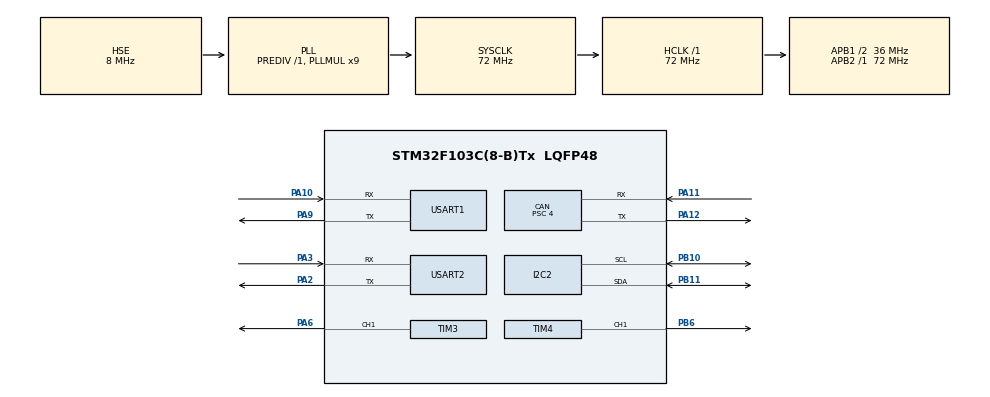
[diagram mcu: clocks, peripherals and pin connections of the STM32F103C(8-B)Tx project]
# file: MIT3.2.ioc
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CAN.BS1=CAN_BS1_3TQ
CAN.BS2=CAN_BS2_5TQ
CAN.CalculateBaudRate=1000000
CAN.CalculateTimeBit=1000
CAN.CalculateTimeQuantum=111.11111111111111
CAN.Prescaler=4
Mcu.Family=STM32F1
Mcu.Name=STM32F103C(8-B)Tx
Mcu.Package=LQFP48
NVIC.PriorityGroup=NVIC_PRIORITYGROUP_4
NVIC.TIM3_IRQn=true\:0\:0\:true\:false\:true\:true\:true\:true
NVIC.TIM4_IRQn=true\:1\:0\:true\:false\:true\:true\:true\:true
NVIC.USART1_IRQn=true\:3\:0\:true\:false\:true\:true\:true\:true
NVIC.USB_LP_CAN1_RX0_IRQn=true\:2\:0\:true\:false\:true\:true\:true\:true
PA10.Mode=Asynchronous
PA10.Signal=USART1_RX
PA11.Mode=CAN_Activate
PA11.Signal=CAN_RX
PA12.Mode=CAN_Activate
PA12.Signal=CAN_TX
PA13.Mode=Serial_Wire
PA13.Signal=SYS_JTMS-SWDIO
PA14.Mode=Serial_Wire
PA14.Signal=SYS_JTCK-SWCLK
PA2.Mode=Asynchronous
PA2.Signal=USART2_TX
PA3.Mode=Asynchronous
PA3.Signal=USART2_RX
PA6.Signal=S_TIM3_CH1
PA9.Mode=Asynchronous
PA9.Signal=USART1_TX
PB10.Mode=I2C
PB10.Signal=I2C2_SCL
PB11.Mode=I2C
PB11.Signal=I2C2_SDA
PB6.Signal=S_TIM4_CH1
PD0-OSC_IN.Mode=HSE-External-Oscillator
PD0-OSC_IN.Signal=RCC_OSC_IN
PD1-OSC_OUT.Mode=HSE-External-Oscillator
PD1-OSC_OUT.Signal=RCC_OSC_OUT
ProjectManager.HeapSize=0x200
ProjectManager.StackSize=0x400
ProjectManager.TargetToolchain=MDK-ARM V5.32
RCC.AHBFreq_Value=72000000
RCC.APB1CLKDivider=RCC_HCLK_DIV2
RCC.APB1Freq_Value=36000000
RCC.APB1TimFreq_Value=72000000
RCC.APB2Freq_Value=72000000
RCC.APB2TimFreq_Value=72000000
RCC.HCLKFreq_Value=72000000
RCC.PLLMUL=RCC_PLL_MUL9
RCC.PLLSourceVirtual=RCC_PLLSOURCE_HSE
RCC.SYSCLKFreq_VALUE=72000000
RCC.SYSCLKSource=RCC_SYSCLKSOURCE_PLLCLK
RCC.USBFreq_Value=72000000
SH.S_TIM3_CH1.0=TIM3_CH1,PWM Generation1 CH1
SH.S_TIM4_CH1.0=TIM4_CH1,PWM Generation1 CH1
TIM3.Channel-PWM\ Generation1\ CH1=TIM_CHANNEL_1
TIM3.Prescaler=72-1
TIM4.Channel-PWM\ Generation1\ CH1=TIM_CHANNEL_1
TIM4.Period=20000-1
TIM4.Prescaler=7200-1
USART1.VirtualMode=VM_ASYNC
USART2.VirtualMode=VM_ASYNC
VP_TIM3_VS_ClockSourceINT.Mode=Internal
VP_TIM4_VS_ClockSourceINT.Mode=Internal
board=custom

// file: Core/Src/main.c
/* USER CODE BEGIN Header */
/**
  ******************************************************************************
  * @file           : main.c
  * @brief          : Main program body
  ******************************************************************************
  * @attention
  *
  * Copyright (c) 2025 STMicroelectronics.
  * All rights reserved.
  *
  * This software is licensed under terms that can be found in the LICENSE file
  * in the root directory of this software component.
  * If no LICENSE file comes with this software, it is provided AS-IS.
  *
  ******************************************************************************
  */
/* USER CODE END Header */
#include "main.h"
#include "can.h"
#include "i2c.h"
#include "tim.h"
#include "usart.h"
#include "gpio.h"
#include "stdio.h"
#include "mpu6050.h"

/* USER CODE BEGIN Includes */
#define P_MIN   -12.5f     // 最小位置 (rad)
#define P_MAX   12.5f      // 最大位置 (rad)
#define V_MIN   -45.0f     // 最小速度 (rad/s)
#define V_MAX   45.0f      // 最大速度 (rad/s)
#define KP_MIN  0.0f       // 最小刚度系数
#define KP_MAX  500.0f     // 最大刚度系数
#define KD_MIN  0.0f       // 最小阻尼系数
#define KD_MAX  100.0f     // 最大阻尼系数
#define T_MIN   -18.0f     // 最小扭矩 (N·m)
#define T_MAX   18.0f      // 最大扭矩 (N·m)
struct three_motor
{
	uint16_t MOTOR_ID_x;
	uint16_t MOTOR_ID_y;
	uint16_t MOTOR_ID_z;
};
struct pid_module
{
	float kp;
	float ki;
  float kd;
  float integral;
  float prev_error;
	float max_output;
};
struct three_motor MT = {0x01, 0x02, 0x03};
struct pid_module pid={1.0f,0.0f,0.1,0.0f,0.0f,20.0f};
#define FEEDBACK_ID_x (MT.MOTOR_ID_x + 0x100) // MIT电机反馈ID = 电机ID + 0x100
#define FEEDBACK_ID_y (MT.MOTOR_ID_y + 0x100)
#define FEEDBACK_ID_z (MT.MOTOR_ID_z + 0x100)
typedef struct {
    float position;      // 当前位置 (rad)
    float velocity;      // 当前速度 (rad/s)
} MotorState;
MotorState motor_x = {0};
MotorState motor_y = {0};
MotorState motor_z = {0};
uint8_t x_flag=0;
uint8_t y_flag=0;
uint8_t z_flag=0;

uint8_t x_ctrl=0;
uint8_t y_ctrl=0;
uint8_t z_ctrl=0;
float dt=0.001f;
float vel_cmd_x=0;
float vel_cmd_y=0;
float vel_cmd_z=0;
int fputc(int ch, FILE *f) {
    HAL_UART_Transmit(&huart2, (uint8_t*)&ch, 1, HAL_MAX_DELAY);
    return ch;
}
void Start_Motor(CAN_HandleTypeDef* hcan,uint8_t id)
{
    CAN_TxHeaderTypeDef txHeader;
    uint8_t start_data[8] = {0xFF, 0xFF, 0xFF, 0xFF, 0xFF, 0xFF, 0xFF, 0xFC};
    uint32_t mailbox;
    txHeader.StdId = id;
    txHeader.IDE = CAN_ID_STD;
    txHeader.RTR = CAN_RTR_DATA;
    txHeader.DLC = 8;
    HAL_CAN_AddTxMessage(hcan, &txHeader, start_data, &mailbox);
}

// 禁用电机
void Stop_Motor(CAN_HandleTypeDef* hcan,uint8_t id)
{
    CAN_TxHeaderTypeDef txHeader;
    uint8_t stop_data[8] = {0xFF, 0xFF, 0xFF, 0xFF, 0xFF, 0xFF, 0xFF, 0xFD};
    uint32_t mailbox;
    txHeader.StdId = id;
    txHeader.IDE = CAN_ID_STD;
    txHeader.RTR = CAN_RTR_DATA;
    txHeader.DLC = 8;
    HAL_CAN_AddTxMessage(hcan, &txHeader, stop_data, &mailbox);
}

/* USER CODE END Includes */

/* USER CODE BEGIN PV */
CAN_FilterTypeDef canFilter;
CAN_RxHeaderTypeDef rxHeader;
uint8_t rxData[8];
/* USER CODE END PV */

void SystemClock_Config(void);

/* USER CODE BEGIN 0 */
float uint_to_float(int x_int, float x_min, float x_max, int bits){
    float span = x_max - x_min;
    return (x_int * span) / ((1 << bits) - 1) + x_min;
}

int float_to_uint(float x, float x_min, float x_max, int bits) {
    float span = x_max - x_min;
    float offset = x_min;
    return (int)((x - offset) * ((1 << bits) - 1) / span);
}

float convet_pitch(int64_t pitch_x)
{
    if(pitch_x<450 && pitch_x>-450)
    {
         return (4.0f * pitch_x) / 450.0f;
    }
    else if ((pitch_x > -900 && pitch_x < -450) || (pitch_x > 450 && pitch_x < 900))
    {
        if(pitch_x<0)
         return -5.0f;
        else
         return 5.0f;
    }
    else
    {
        Stop_Motor(&hcan,MT.MOTOR_ID_x);
        return 0;
    }
}
float convet_roll(int64_t roll_y)
{
    if(roll_y<900&&roll_y>900)
    {
         return (2.0f * roll_y) / 450.0f;
    }
    else if ((roll_y > -1800 && roll_y < -900) || (roll_y > 900 && roll_y < 1800))
    {
        if(roll_y<0)
         return -5.0f;
        else
         return 5.0f;
    }
    else
    {
        Stop_Motor(&hcan,MT.MOTOR_ID_y);
        return 0;
    }
}
float convet_yaw(int64_t yaw_z)
{
    if(yaw_z<900&&yaw_z>-900)
    {
         return  (float)(yaw_z*4.0f) / 500.0f;
    }
    else if ((yaw_z> -1800 && yaw_z < -900) || (yaw_z > 900 && yaw_z < 1800))
    {
        if(yaw_z<0)
         return -5.0f;
        else
         return 5.0f;
    }
    else
    {
        Stop_Motor(&hcan,MT.MOTOR_ID_z);
        return 0;
    }
}
//控制模式发送函数
void ctrl_motor(CAN_HandleTypeDef* hcan, uint16_t id, float _pos, float _vel, float _KP, float _KD, float _torq) {
    CAN_TxHeaderTypeDef txHeader;
    uint8_t data[8];
    uint32_t mailbox;

    uint16_t pos_tmp = float_to_uint(_pos, P_MIN, P_MAX, 16);
    uint16_t vel_tmp = float_to_uint(_vel, V_MIN, V_MAX, 12);
    uint16_t kp_tmp = float_to_uint(_KP, KP_MIN, KP_MAX, 12);
    uint16_t kd_tmp = float_to_uint(_KD, KD_MIN, KD_MAX, 12);
    uint16_t tor_tmp = float_to_uint(_torq, T_MIN, T_MAX, 12);

    txHeader.StdId = id;
    txHeader.IDE = CAN_ID_STD;
    txHeader.RTR = CAN_RTR_DATA;
    txHeader.DLC = 8;

    data[0] = (pos_tmp >> 8) & 0xFF;
    data[1] = pos_tmp & 0xFF;
    data[2] = (vel_tmp >> 4) & 0xFF;
    data[3] = ((vel_tmp & 0xF) << 4) | ((kp_tmp >> 8) & 0x0F);
    data[4] = kp_tmp & 0xFF;
    data[5] = (kd_tmp >> 4) & 0xFF;
    data[6] = ((kd_tmp & 0x0F) << 4) | ((tor_tmp >> 8) & 0x0F);
    data[7] = tor_tmp & 0xFF;

    HAL_CAN_AddTxMessage(hcan, &txHeader, data, &mailbox);
}

void my_log()
{
	printf("x_velocity:%.1f", motor_x.velocity);
	printf("y_velocity:%.1f",motor_y.velocity);
	printf("z_velocity:%.1f",motor_z.velocity);
}

void HAL_CAN_RxFifo0MsgPendingCallback(CAN_HandleTypeDef* hcan) {
    uint16_t  v_x, v_y, v_z;

    if (HAL_CAN_GetRxMessage(hcan, CAN_RX_FIFO0, &rxHeader, rxData) == HAL_OK) {

        // 只处理电机反馈ID
        if (rxHeader.StdId == FEEDBACK_ID_x)
					{
            // 正确解析MIT电机反馈数据
            v_x = (rxData[2] << 4) | (rxData[3] >> 4);

            motor_x.velocity = uint_to_float(v_x, V_MIN, V_MAX, 12);

            x_flag=1;
        }
				 if (rxHeader.StdId == FEEDBACK_ID_y)
					 {
            // 正确解析MIT电机反馈数据
            v_y = (rxData[2] << 4) | (rxData[3] >> 4);

            motor_y.velocity = uint_to_float(v_y, V_MIN, V_MAX, 12);

						 y_flag=1;
        }
				  if (rxHeader.StdId == FEEDBACK_ID_z)
						{
            // 正确解析MIT电机反馈数据
            v_z = (rxData[2] << 4) | (rxData[3] >> 4);
            motor_z.velocity = uint_to_float(v_z, V_MIN, V_MAX, 12);

						 z_flag=1;
        }
    }
}

void HAL_TIM_PeriodElapsedCallback(TIM_HandleTypeDef *htim)
 {

     if (htim->Instance == TIM3) {
			 int pitch_int=pitch*10;
			 vel_cmd_x= convet_pitch(pitch_int);
			 x_ctrl = 1;
			 z_ctrl = 1;
     }
 }

 void mit()
{
	ctrl_motor(&hcan,  MT.MOTOR_ID_x, 0, vel_cmd_x, 0, 1.0, 0);
	HAL_Delay(1);
}

/* USER CODE END 0 */

int main(void)
{

  /* MCU Configuration--------------------------------------------------------*/

  /* Reset of all peripherals, Initializes the Flash interface and the Systick. */
  HAL_Init();

  /* Configure the system clock */
  SystemClock_Config();

  /* Initialize all configured peripherals */
  MX_GPIO_Init();
  MX_CAN_Init();
  MX_I2C2_Init();
  MX_TIM3_Init();
  MX_TIM4_Init();
  MX_USART1_UART_Init();
  MX_USART2_UART_Init();
  /* USER CODE BEGIN 2 */
	canFilter.FilterBank = 0;
  canFilter.FilterMode = CAN_FILTERMODE_IDLIST;
	canFilter .FilterScale = CAN_FILTERSCALE_32BIT;
  canFilter.FilterIdHigh = (0x101 << 5);
  canFilter.FilterIdLow = (0x102 << 5);
  canFilter.FilterMaskIdHigh = (0x103 << 5);
  canFilter.FilterMaskIdLow = 0;
  canFilter.FilterActivation = ENABLE;

	HAL_CAN_ConfigFilter(&hcan, &canFilter);

  // 启动CAN并启用接收中断
  HAL_CAN_Start(&hcan);
  HAL_CAN_ActivateNotification(&hcan, CAN_IT_RX_FIFO0_MSG_PENDING);

  // 使能电机
	Start_Motor(&hcan,MT.MOTOR_ID_x);
	HAL_Delay(1);
  Start_Motor(&hcan,MT.MOTOR_ID_y);
	HAL_Delay(1);
	Start_Motor(&hcan,MT.MOTOR_ID_z);
	HAL_Delay(1);

	 HAL_TIM_Base_Start_IT(&htim3);

	 HAL_TIM_Base_Start_IT(&htim4);
  /* USER CODE END 2 */

  /* Infinite loop */
  /* USER CODE BEGIN WHILE */
  while (1)
  {
		computer();
		if(x_ctrl==1&&z_ctrl==1)
		{
			x_ctrl=0;

			z_ctrl=0;
			mit();
		}
		HAL_Delay(1);

    /* USER CODE END WHILE */

  }
}

void SystemClock_Config(void)
{
  RCC_OscInitTypeDef RCC_OscInitStruct = {0};
  RCC_ClkInitTypeDef RCC_ClkInitStruct = {0};

  /** Initializes the RCC Oscillators according to the specified parameters
  * in the RCC_OscInitTypeDef structure.
  */
  RCC_OscInitStruct.OscillatorType = RCC_OSCILLATORTYPE_HSE;
  RCC_OscInitStruct.HSEState = RCC_HSE_ON;
  RCC_OscInitStruct.HSEPredivValue = RCC_HSE_PREDIV_DIV1;
  RCC_OscInitStruct.HSIState = RCC_HSI_ON;
  RCC_OscInitStruct.PLL.PLLState = RCC_PLL_ON;
  RCC_OscInitStruct.PLL.PLLSource = RCC_PLLSOURCE_HSE;
  RCC_OscInitStruct.PLL.PLLMUL = RCC_PLL_MUL9;
  if (HAL_RCC_OscConfig(&RCC_OscInitStruct) != HAL_OK)
  {
    Error_Handler();
  }

  /** Initializes the CPU, AHB and APB buses clocks
  */
  RCC_ClkInitStruct.ClockType = RCC_CLOCKTYPE_HCLK|RCC_CLOCKTYPE_SYSCLK
                              |RCC_CLOCKTYPE_PCLK1|RCC_CLOCKTYPE_PCLK2;
  RCC_ClkInitStruct.SYSCLKSource = RCC_SYSCLKSOURCE_PLLCLK;
  RCC_ClkInitStruct.AHBCLKDivider = RCC_SYSCLK_DIV1;
  RCC_ClkInitStruct.APB1CLKDivider = RCC_HCLK_DIV2;
  RCC_ClkInitStruct.APB2CLKDivider = RCC_HCLK_DIV1;

  if (HAL_RCC_ClockConfig(&RCC_ClkInitStruct, FLASH_LATENCY_2) != HAL_OK)
  {
    Error_Handler();
  }
}

void Error_Handler(void)
{
  __disable_irq();
  while (1)
  {
  }
}
